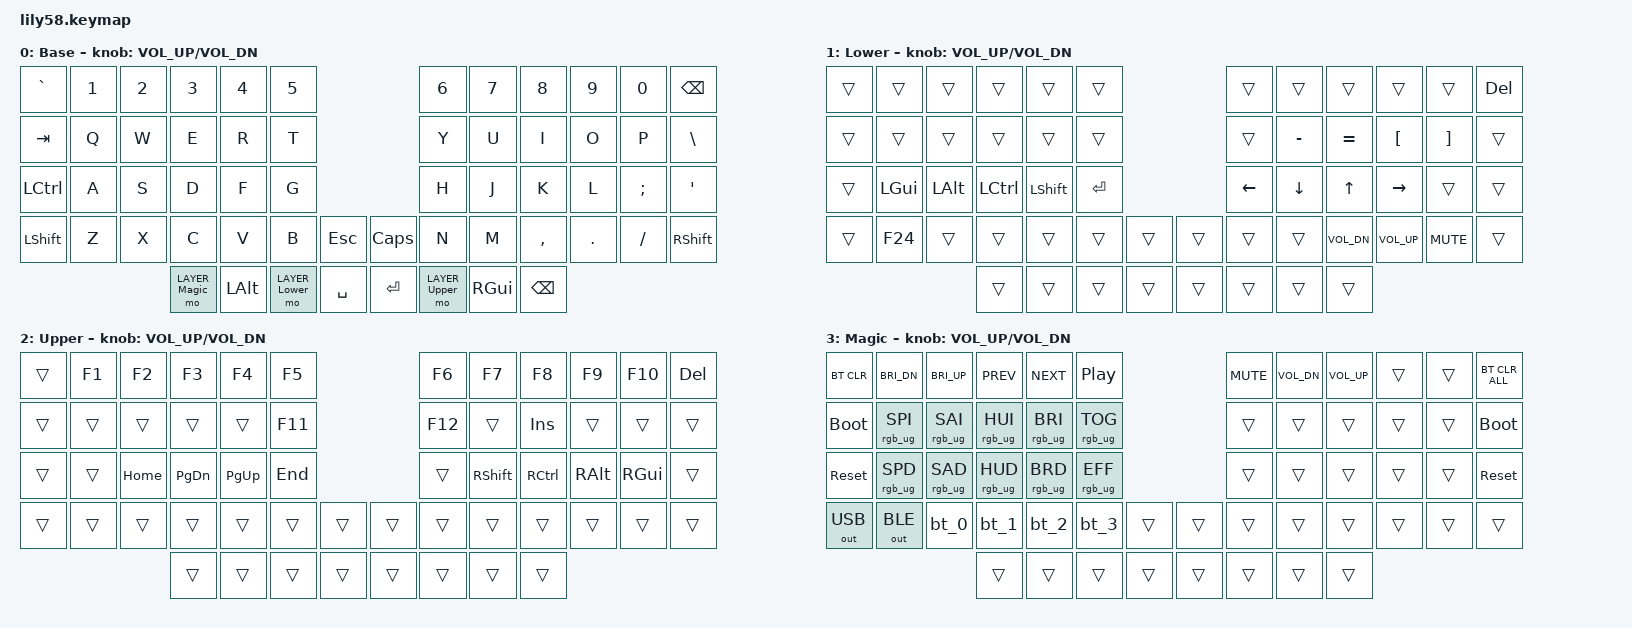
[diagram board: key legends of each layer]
/*
 * Copyright (c) 2020 The ZMK Contributors
 *
 * SPDX-License-Identifier: MIT
 */

/* Lily58 keymap adapted from Go60 layout */

#include <behaviors.dtsi>
#include <dt-bindings/zmk/keys.h>
#include <dt-bindings/zmk/bt.h>
#include <dt-bindings/zmk/ext_power.h>
#include <dt-bindings/zmk/rgb.h>
#include <dt-bindings/zmk/outputs.h>

/* Helper Macros for tap-dance, based on https://github.com/urob/zmk-helpers/ */

#define ZMK_BEHAVIOR_CORE_tap_dance \
    compatible = "zmk,behavior-tap-dance"; \
    #binding-cells = <0>

#define ZMK_BEHAVIOR(name, type, ...) \
    name: name { \
        ZMK_BEHAVIOR_CORE_ ## type; \
        __VA_ARGS__ \
    };

#define ZMK_TAP_DANCE(name, ...) \
    ZMK_BEHAVIOR(name, tap_dance, __VA_ARGS__)

#define ZMK_TD_LAYER(name, layer) \
    ZMK_TAP_DANCE(name, \
        tapping-term-ms = <200>; \
        bindings = <&mo layer>, <&to layer>; \
)

/* Layer defines */
#define LAYER_Base 0
#define LAYER_Lower 1
#define LAYER_Upper 2
#define LAYER_Magic 3

/* Key position defines for Lily58 - used for homerow mods */
// Left hand
#define POS_LH_C6R1 0
#define POS_LH_C5R1 1
#define POS_LH_C4R1 2
#define POS_LH_C3R1 3
#define POS_LH_C2R1 4
#define POS_LH_C1R1 5

#define POS_LH_C6R2 12
#define POS_LH_C5R2 13
#define POS_LH_C4R2 14
#define POS_LH_C3R2 15
#define POS_LH_C2R2 16
#define POS_LH_C1R2 17

#define POS_LH_C6R3 24
#define POS_LH_C5R3 25
#define POS_LH_C4R3 26
#define POS_LH_C3R3 27
#define POS_LH_C2R3 28
#define POS_LH_C1R3 29

#define POS_LH_C6R4 36
#define POS_LH_C5R4 37
#define POS_LH_C4R4 38
#define POS_LH_C3R4 39
#define POS_LH_C2R4 40
#define POS_LH_C1R4 41
#define POS_LH_ENC  42  // Left encoder position

#define POS_LH_T4 50  // Leftmost thumb
#define POS_LH_T3 51
#define POS_LH_T2 52
#define POS_LH_T1 53  // Innermost left thumb

// Right hand
#define POS_RH_C1R1 6
#define POS_RH_C2R1 7
#define POS_RH_C3R1 8
#define POS_RH_C4R1 9
#define POS_RH_C5R1 10
#define POS_RH_C6R1 11

#define POS_RH_C1R2 18
#define POS_RH_C2R2 19
#define POS_RH_C3R2 20
#define POS_RH_C4R2 21
#define POS_RH_C5R2 22
#define POS_RH_C6R2 23

#define POS_RH_C1R3 30
#define POS_RH_C2R3 31
#define POS_RH_C3R3 32
#define POS_RH_C4R3 33
#define POS_RH_C5R3 34
#define POS_RH_C6R3 35

#define POS_RH_ENC  43  // Right encoder position
#define POS_RH_C1R4 44
#define POS_RH_C2R4 45
#define POS_RH_C3R4 46
#define POS_RH_C4R4 47
#define POS_RH_C5R4 48
#define POS_RH_C6R4 49

#define POS_RH_T1 54  // Innermost right thumb
#define POS_RH_T2 55
#define POS_RH_T3 56
#define POS_RH_T4 57  // Rightmost thumb

/* Position groups for homerow mods */
#define LEFT_HAND_KEYS \
    POS_LH_C6R1 POS_LH_C5R1 POS_LH_C4R1 POS_LH_C3R1 POS_LH_C2R1 POS_LH_C1R1 \
    POS_LH_C6R2 POS_LH_C5R2 POS_LH_C4R2 POS_LH_C3R2 POS_LH_C2R2 POS_LH_C1R2 \
    POS_LH_C6R3 POS_LH_C5R3 POS_LH_C4R3 POS_LH_C3R3 POS_LH_C2R3 POS_LH_C1R3 \
    POS_LH_C6R4 POS_LH_C5R4 POS_LH_C4R4 POS_LH_C3R4 POS_LH_C2R4 POS_LH_C1R4

#define RIGHT_HAND_KEYS \
    POS_RH_C1R1 POS_RH_C2R1 POS_RH_C3R1 POS_RH_C4R1 POS_RH_C5R1 POS_RH_C6R1 \
    POS_RH_C1R2 POS_RH_C2R2 POS_RH_C3R2 POS_RH_C4R2 POS_RH_C5R2 POS_RH_C6R2 \
    POS_RH_C1R3 POS_RH_C2R3 POS_RH_C3R3 POS_RH_C4R3 POS_RH_C5R3 POS_RH_C6R3 \
    POS_RH_C1R4 POS_RH_C2R4 POS_RH_C3R4 POS_RH_C4R4 POS_RH_C5R4 POS_RH_C6R4

#define THUMB_KEYS \
    POS_LH_T4 POS_LH_T3 POS_LH_T2 POS_LH_T1 \
    POS_RH_T1 POS_RH_T2 POS_RH_T3 POS_RH_T4

/* System behaviors and macros */
/ {
    macros {
        rgb_ug_status_macro: rgb_ug_status_macro {
            label = "RGB_UG_STATUS";
            compatible = "zmk,behavior-macro";
            #binding-cells = <0>;
            bindings = <&rgb_ug RGB_TOG>;
        };

        bt_0: bt_0 {
            label = "BT_0";
            compatible = "zmk,behavior-macro";
            #binding-cells = <0>;
            bindings = <&out OUT_BLE>, <&bt BT_SEL 0>;
        };
        bt_1: bt_1 {
            label = "BT_1";
            compatible = "zmk,behavior-macro";
            #binding-cells = <0>;
            bindings = <&out OUT_BLE>, <&bt BT_SEL 1>;
        };
        bt_2: bt_2 {
            label = "BT_2";
            compatible = "zmk,behavior-macro";
            #binding-cells = <0>;
            bindings = <&out OUT_BLE>, <&bt BT_SEL 2>;
        };
        bt_3: bt_3 {
            label = "BT_3";
            compatible = "zmk,behavior-macro";
            #binding-cells = <0>;
            bindings = <&out OUT_BLE>, <&bt BT_SEL 3>;
        };
    };
};

/ {
    behaviors {
    };
};

/* Keymap */
/ {
    keymap {
        compatible = "zmk,keymap";

        layer_Base {
            display-name = "Base";
// ------------------------------------------------------------------------------------------------------------
// |  `    |  1  |  2  |   3   |  4  |  5    |                  |   6   |  7   |  8  |  9   |   0   | BSPC  |
// |  TAB  |  Q  |  W  |   E   |  R  |  T    |                  |   Y   |  U   |  I  |  O   |   P   |   \   |
// | CTRL  |  A  |  S  |   D   |  F  |  G    |                  |   H   |  J   |  K  |  L   |   ;   |   '   |
// | SHIFT |  Z  |  X  |   C   |  V  |  B    |  ESC  |  | CAPS  |   N   |  M   |  ,  |  .   |   /   | SHIFT |
//                     | MAGIC | ALT | LOWER | SPACE |  | ENTER | UPPER | BSPC | GUI |
            bindings = <
&kp GRAVE  &kp N1  &kp N2  &kp N3           &kp N4    &kp N5                                     &kp N6           &kp N7    &kp N8     &kp N9   &kp N0    &kp BSPC
&kp TAB    &kp Q   &kp W   &kp E            &kp R     &kp T                                      &kp Y            &kp U     &kp I      &kp O    &kp P     &kp BSLH
&kp LCTRL  &kp A   &kp S   &kp D            &kp F     &kp G                                      &kp H            &kp J     &kp K      &kp L    &kp SEMI  &kp SQT
&kp LSHFT  &kp Z   &kp X   &kp C            &kp V     &kp B            &kp ESC         &kp CAPS  &kp N            &kp M     &kp COMMA  &kp DOT  &kp FSLH  &kp RSHFT
                           &mo LAYER_Magic  &kp LALT  &mo LAYER_Lower  &kp SPACE       &kp RET   &mo LAYER_Upper  &kp RGUI  &kp BSPC  
            >;

            sensor-bindings = <&inc_dec_kp C_VOL_UP C_VOL_DN>;
        };

        layer_Lower {
            display-name = "Lower";
            bindings = <
&trans  &trans    &trans    &trans     &trans     &trans                                  &trans    &trans     &trans        &trans        &trans      &kp DEL
&trans  &trans    &trans    &trans     &trans     &trans                                  &trans    &kp MINUS  &kp EQUAL     &kp LBKT      &kp RBKT    &trans
&trans  &kp LGUI  &kp LALT  &kp LCTRL  &kp LSHFT  &kp RET                                 &kp LEFT  &kp DOWN   &kp UP        &kp RIGHT     &trans      &trans
&trans  &kp F24   &trans    &trans     &trans     &trans  &trans              &trans      &trans    &trans     &kp C_VOL_DN  &kp C_VOL_UP  &kp C_MUTE  &trans
                            &trans     &trans     &trans  &trans              &trans      &trans    &trans     &trans
            >;

            sensor-bindings = <&inc_dec_kp C_VOL_UP C_VOL_DN>;
        };

        layer_Upper {
            display-name = "Upper";
            bindings = <
&trans  &kp F1  &kp F2    &kp F3     &kp F4     &kp F5                              &kp F6    &kp F7     &kp F8     &kp F9    &kp F10   &kp DEL
&trans  &trans  &trans    &trans     &trans     &kp F11                             &kp F12   &trans     &kp INS    &trans    &trans    &trans
&trans  &trans  &kp HOME  &kp PG_DN  &kp PG_UP  &kp END                             &trans    &kp RSHFT  &kp RCTRL  &kp RALT  &kp RGUI  &trans
&trans  &trans  &trans    &trans     &trans     &trans  &trans              &trans  &trans    &trans     &trans     &trans    &trans    &trans
                          &trans     &trans     &trans  &trans              &trans  &trans    &trans     &trans
            >;

            sensor-bindings = <&inc_dec_kp C_VOL_UP C_VOL_DN>;
        };

        layer_Magic {
            display-name = "Magic";
            bindings = <
&bt BT_CLR    &kp C_BRI_DN     &kp C_BRI_UP     &kp C_PREV       &kp C_NEXT       &kp C_PP                                     &kp C_MUTE  &kp C_VOL_DN  &kp C_VOL_UP  &trans  &trans  &bt BT_CLR_ALL
&bootloader   &rgb_ug RGB_SPI  &rgb_ug RGB_SAI  &rgb_ug RGB_HUI  &rgb_ug RGB_BRI  &rgb_ug RGB_TOG                              &trans      &trans        &trans        &trans  &trans  &bootloader
&sys_reset    &rgb_ug RGB_SPD  &rgb_ug RGB_SAD  &rgb_ug RGB_HUD  &rgb_ug RGB_BRD  &rgb_ug RGB_EFF                              &trans      &trans        &trans        &trans  &trans  &sys_reset
&out OUT_USB  &out OUT_BLE     &bt_0            &bt_1            &bt_2            &bt_3            &trans              &trans  &trans      &trans        &trans        &trans  &trans  &trans
                                                &trans           &trans           &trans           &trans              &trans  &trans      &trans        &trans
            >;

            sensor-bindings = <&inc_dec_kp C_VOL_UP C_VOL_DN>;
        };
    };
};
